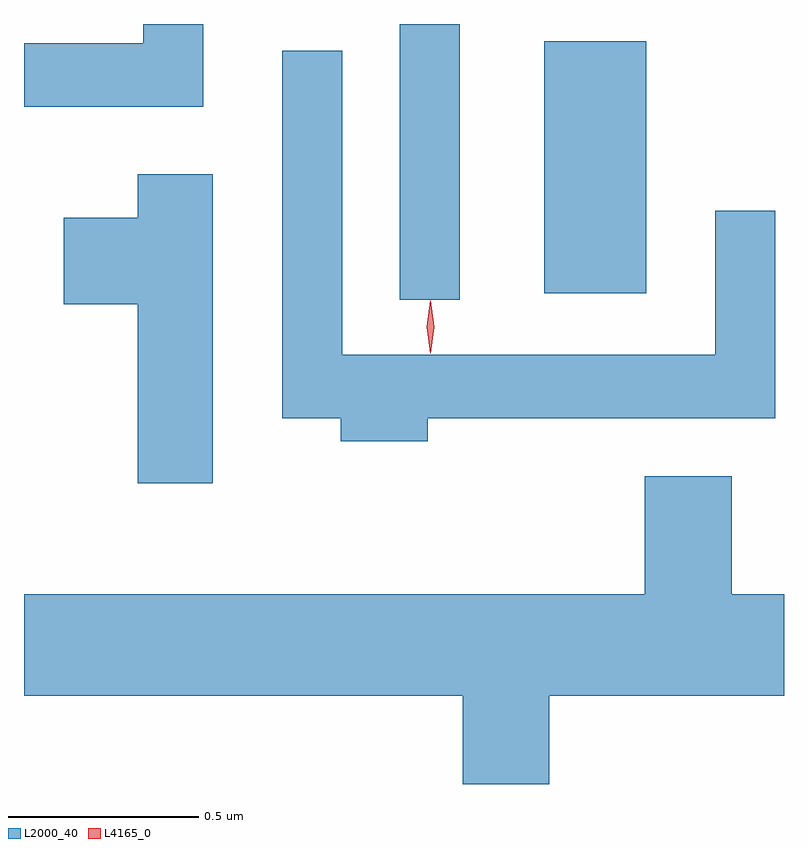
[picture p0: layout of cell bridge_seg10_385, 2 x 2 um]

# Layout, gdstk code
import gdstk
lib = gdstk.Library(unit=1e-6, precision=1e-09)
def R(c, l, rs):  # rectangles x0, y0, x1, y1
    for r in rs: c.add(gdstk.rectangle(r[:2], r[2:], *l))
def P(c, l, *ps):  # polygons
    for p in ps: c.add(gdstk.Polygon(p, *l))
L2000_40 = (2000, 40)
L4165_0 = (4165, 0)

bridge_seg10_385 = lib.new_cell('bridge_seg10_385')
R(bridge_seg10_385, L2000_40, [(1061.436,2130.498,1061.594,2131.224), (1061.816,2130.516,1062.084,2131.179)])
P(bridge_seg10_385, L2000_40, [(1060.919,2131.224),(1060.761,2131.224),(1060.761,2131.174),(1060.447,2131.174),(1060.447,2131.006),(1060.919,2131.006)],
  [(1061.509,2130.186),(1062.424,2130.186),(1062.424,2130.733),(1062.266,2130.733),(1062.266,2130.354),(1061.284,2130.354),(1061.284,2131.153),(1061.126,2131.153),(1061.126,2130.186),(1061.281,2130.186),(1061.281,2130.126),(1061.509,2130.126)],
  [(1060.944,2130.829),(1060.746,2130.829),(1060.746,2130.714),(1060.551,2130.714),(1060.551,2130.486),(1060.746,2130.486),(1060.746,2130.016),(1060.944,2130.016)],
  [(1061.829,2129.456),(1062.447,2129.456),(1062.447,2129.724),(1062.309,2129.724),(1062.309,2130.034),(1062.081,2130.034),(1062.081,2129.724),(1060.447,2129.724),(1060.447,2129.456),(1061.601,2129.456),(1061.601,2129.224),(1061.829,2129.224)])
P(bridge_seg10_385, L4165_0, [(1061.517,2130.357),(1061.516,2130.358),(1061.507,2130.427),(1061.516,2130.496),(1061.517,2130.496),(1061.517,2130.496),(1061.527,2130.427),(1061.517,2130.358)],
  [(1061.516,2130.36),(1061.507,2130.426),(1061.516,2130.492),(1061.516,2130.493),(1061.517,2130.492),(1061.526,2130.426),(1061.517,2130.36),(1061.517,2130.36)])

lib.write_gds('bridge_seg10_385.gds')
